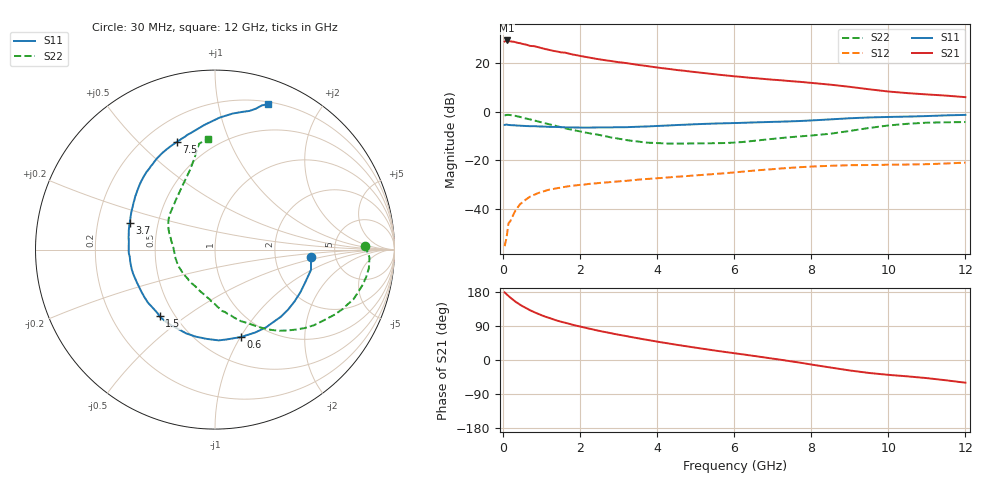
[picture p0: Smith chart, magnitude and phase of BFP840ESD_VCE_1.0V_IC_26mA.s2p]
! Infineon Technologies  Discrete & RF Semiconductors
! BFP840ESD
! VCE =  1.0 V,  IC =  26 mA
! Common Emitter S-Parameters:  May 2012
# GHz  S  MA  R  50
!  f  S11  S21  S12  S22
! GHz  MAG  ANG  MAG  ANG  MAG  ANG  MAG  ANG
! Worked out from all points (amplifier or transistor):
!   93 points, 30 MHz to 12 GHz, reference 50 ohm
!   highest |S21| = 29.4 dB at 80 MHz (marker M1)
!   |S21| within 3 dB of that: start of sweep to 957.2 MHz
!   unconditionally stable (mu >= 1): start of sweep to 103.4 MHz; 3.129 GHz to 10.79 GHz
!   at 1.1 GHz: K = 0.55, MSG = 29.2 dB, |S12| = -32.5 dB
!   at 4.2 GHz: K = 1.12, MAG = 20.4 dB, |S12| = -27.1 dB
!   at 12 GHz: K = 0.81, MSG = 13.5 dB, |S12| = -21.0 dB
!   S11 on the Smith chart (normalised r, x): 30 MHz: 3.26, -0.40; 600 MHz: 0.77, -1.01; 1.5 GHz: 0.41, -0.40; 3.7 GHz: 0.34, +0.13; 7.5 GHz: 0.32, +0.66; 12 GHz: 0.22, +1.40
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0.03  0.5364 -4.7  28.05 178.5  0.0017 72.1  0.8359 1.5
0.08  0.5467 -11.9  29.52 173.7  0.0025 61.9  0.8619 -2.9
0.18  0.5318 -26.5  28.26 164.6  0.0056 73.9  0.8553 -10.6
0.33  0.5239 -45.8  26.93 152.5  0.0097 70.0  0.8192 -19.8
0.43  0.5182 -56.8  25.95 145.9  0.0124 66.7  0.7853 -24.9
0.6  0.5081 -73.4  24.08 136.3  0.0159 61.3  0.7225 -33.1
0.7  0.5047 -82.4  22.74 130.8  0.018 59.5  0.6938 -37.4
0.8  0.5062 -87.7  22.5 126.2  0.0195 56.5  0.6646 -41.1
0.9  0.4997 -95.2  21.51 121.9  0.0211 53.5  0.6319 -44.9
1.1  0.4935 -109.1  19.53 113.9  0.0237 49.6  0.5767 -51.6
1.5  0.483 -129.7  16.75 100.9  0.0275 43.6  0.4796 -62.3
1.6  0.4773 -132.1  16.57 98.4  0.0284 42.3  0.4586 -64.7
2.1  0.4715 -153.3  13.68 85.7  0.0316 38.1  0.3765 -76.5
2.9  0.4808 -177.8  10.78 68.4  0.0363 34.9  0.2877 -94.3
3.7  0.4978 162.7  8.832 53.7  0.0411 32.3  0.233 -117.4
4.1  0.5143 153.9  7.974 46.7  0.0432 31.4  0.225 -130.3
5  0.5543 139.2  6.556 32.4  0.0491 28.4  0.2233 -157.0
6.1  0.5882 126.5  5.314 16.5  0.0573 24.9  0.2353 175.7
7.5  0.6374 109.4  4.264 -4.0  0.0704 15.6  0.302 149.5
8.5  0.698 94.7  3.616 -19.9  0.0771 6.8  0.3535 127.8
10.5  0.7964 76.0  2.424 -43.2  0.0818 -7.7  0.566 100.2
12  0.8627 70.0  2.004 -59.9  0.0896 -14.7  0.6146 93.4
